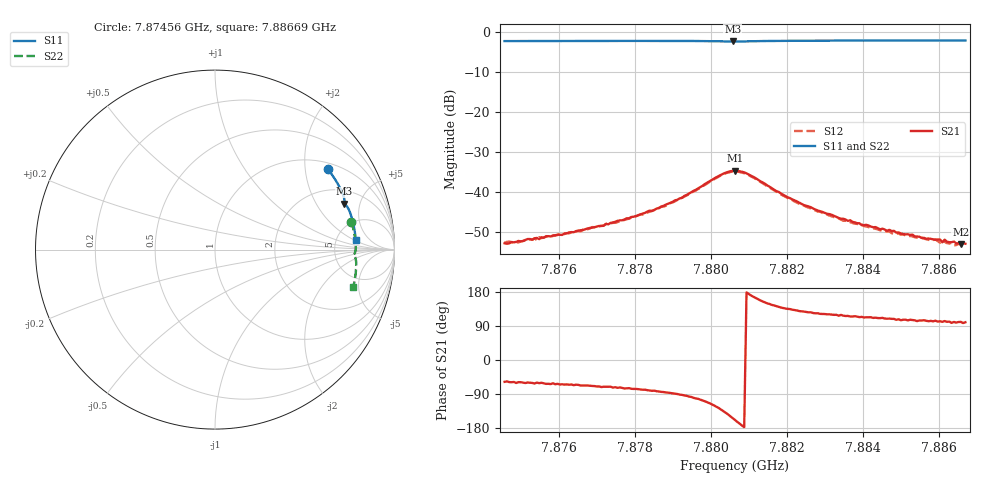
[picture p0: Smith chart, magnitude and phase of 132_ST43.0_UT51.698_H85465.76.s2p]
#  HZ  S  DB  R  50.00
! Rohde & Schwarz Vector Network Analyzer
! Rohde-Schwarz,ZNB20-2Port,1311601062101988,3.16
! Created: UTC 1/12/2023, 6:39:05 PM
! freq[Hz]  db:S11  ang:S11  db:S21  ang:S21  db:S12  ang:S12  db:S22  ang:S22
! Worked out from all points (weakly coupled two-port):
!   201 points, 7.87456 GHz to 7.88669 GHz, reference 50 ohm
!   highest |S21| = -34.65 dB at 7.88063 GHz (marker M1); lowest = -52.9 dB at 7.88657 GHz (marker M2)
!   lowest |S11| = -2.3 dB at 7.88056 GHz (marker M3), VSWR 7.46, Z = 144 + j177 ohm
!   |S11| at or under -10 dB: nowhere
!   |S22| runs from -2.3 to -2.0 dB; largest |S21 - S12| = 0.0012
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7.87456e9  -2.25 35.6  -52.76 -57.6  -52.60 -59.3  -2.21 11.5
7.875409e9  -2.23 33.3  -51.41 -59.6  -51.93 -64.6  -2.18 9.5
7.87547e9  -2.23 33.1  -51.73 -61.1  -51.22 -64.6  -2.18 9.4
7.876622e9  -2.21 30.0  -49.45 -67.4  -49.36 -70.3  -2.15 6.6
7.877653e9  -2.20 27.1  -47.02 -73.6  -47.16 -77.2  -2.12 4.2
7.878624e9  -2.19 24.5  -43.91 -83.2  -43.99 -86.5  -2.11 1.9
7.87923e9  -2.21 22.7  -41.40 -92.0  -41.38 -95.5  -2.11 0.4
7.880262e9  -2.31 20.0  -35.64 -130.9  -35.76 -134.3  -2.22 -1.9
7.880565e9  -2.34 19.6  -34.66 -153.3  -34.85 -156.5  -2.25 -2.1
7.880625e9  -2.34 19.5  -34.65 -158.3  -34.84 -161.6  -2.25 -2.2
7.880989e9  -2.30 19.1  -35.60 174.4  -35.75 170.9  -2.21 -2.4
7.882021e9  -2.17 16.5  -41.29 134.8  -41.51 130.9  -2.07 -4.6
7.882688e9  -2.15 14.6  -44.11 123.9  -44.39 121.5  -2.04 -6.1
7.883476e9  -2.13 12.5  -46.63 117.1  -47.14 113.0  -2.01 -8.0
7.883961e9  -2.12 11.2  -48.24 113.8  -48.03 109.6  -2.00 -9.1
7.884689e9  -2.11 9.2  -49.40 109.3  -49.80 106.2  -1.98 -10.7
7.885902e9  -2.10 6.1  -51.88 103.7  -51.80 100.4  -1.97 -13.3
7.886024e9  -2.09 5.8  -51.82 102.2  -52.64 97.8  -1.96 -13.6
7.886084e9  -2.09 5.6  -52.51 100.7  -52.11 99.3  -1.96 -13.7
7.886145e9  -2.09 5.5  -51.86 102.8  -52.38 97.4  -1.97 -13.9
7.88657e9  -2.09 4.4  -52.93 100.6  -53.21 96.8  -1.96 -14.7
7.886691e9  -2.09 4.0  -52.86 99.6  -53.48 95.5  -1.96 -15.0
